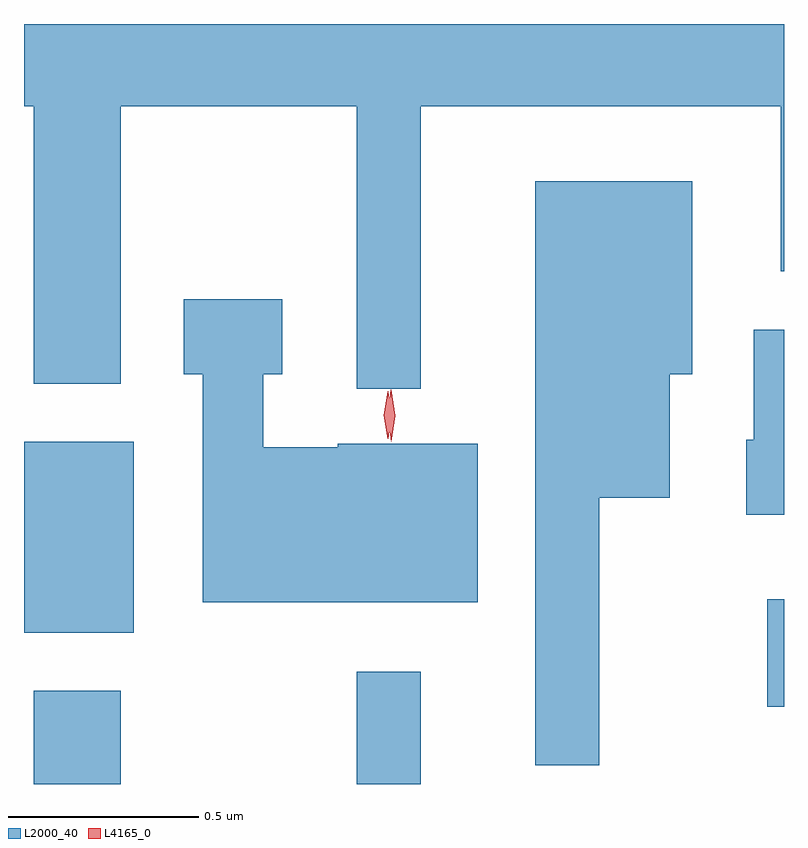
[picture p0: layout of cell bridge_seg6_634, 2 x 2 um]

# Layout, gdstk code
import gdstk
lib = gdstk.Library(unit=1e-6, precision=1e-09)
def R(c, l, rs):  # rectangles x0, y0, x1, y1
    for r in rs: c.add(gdstk.rectangle(r[:2], r[2:], *l))
def P(c, l, *ps):  # polygons
    for p in ps: c.add(gdstk.Polygon(p, *l))
L2000_40 = (2000, 40)
L4165_0 = (4165, 0)

bridge_seg6_634 = lib.new_cell('bridge_seg6_634')
R(bridge_seg6_634, L2000_40, [(550.461,1601.533,550.689,1601.779), (551.311,1601.533,551.479,1601.828), (552.391,1601.736,552.435,1602.019), (550.435,1601.931,550.724,1602.434)])
P(bridge_seg6_634, L2000_40, [(551.479,1603.316),(552.426,1603.316),(552.426,1602.883),(552.435,1602.883),(552.435,1603.533),(550.435,1603.533),(550.435,1603.316),(550.461,1603.316),(550.461,1602.586),(550.689,1602.586),(550.689,1603.316),(551.311,1603.316),(551.311,1602.573),(551.479,1602.573)],
  [(551.949,1602.286),(552.134,1602.286),(552.134,1602.611),(552.194,1602.611),(552.194,1603.119),(551.781,1603.119),(551.781,1601.583),(551.949,1601.583)],
  [(551.629,1602.429),(551.26,1602.429),(551.26,1602.419),(551.064,1602.419),(551.064,1602.611),(551.114,1602.611),(551.114,1602.809),(550.856,1602.809),(550.856,1602.611),(550.906,1602.611),(550.906,1602.011),(551.629,1602.011)],
  [(552.435,1602.729),(552.356,1602.729),(552.356,1602.439),(552.336,1602.439),(552.336,1602.241),(552.435,1602.241)])
P(bridge_seg6_634, L4165_0, [(551.392,1602.442),(551.392,1602.442),(551.382,1602.504),(551.392,1602.567),(551.392,1602.567),(551.393,1602.567),(551.402,1602.504),(551.393,1602.442)],
  [(551.402,1602.434),(551.402,1602.434),(551.392,1602.502),(551.4,1602.57),(551.401,1602.571),(551.402,1602.57),(551.412,1602.502),(551.402,1602.434)])

lib.write_gds('bridge_seg6_634.gds')
